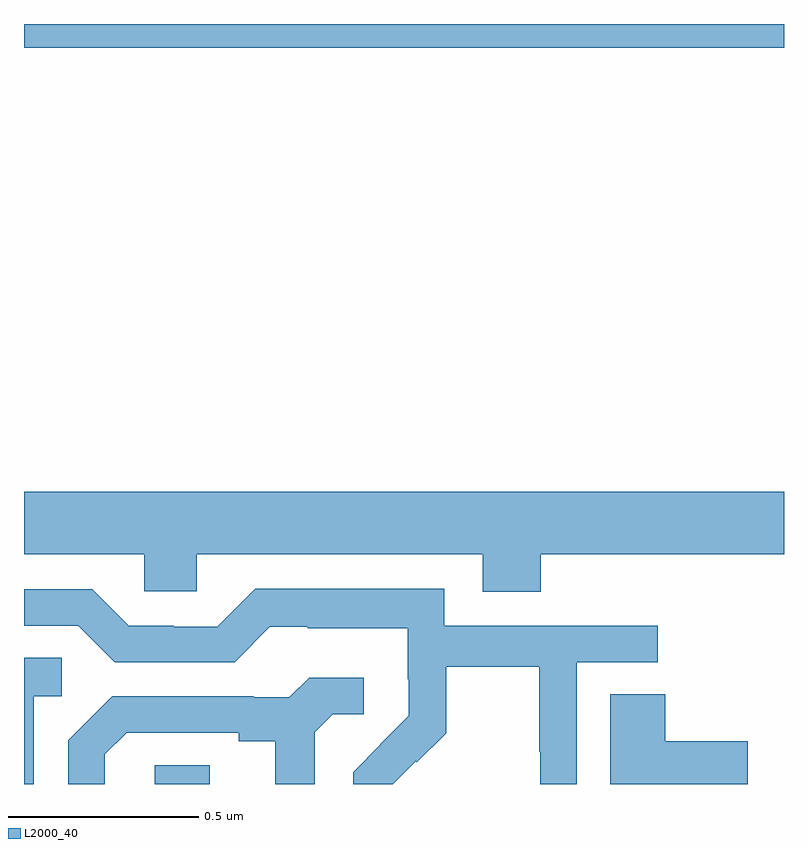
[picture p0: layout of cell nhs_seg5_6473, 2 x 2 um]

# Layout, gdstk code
import gdstk
lib = gdstk.Library(unit=1e-6, precision=1e-09)
def R(c, l, rs):  # rectangles x0, y0, x1, y1
    for r in rs: c.add(gdstk.rectangle(r[:2], r[2:], *l))
def P(c, l, *ps):  # polygons
    for p in ps: c.add(gdstk.Polygon(p, *l))
L2000_40 = (2000, 40)

nhs_seg5_6473 = lib.new_cell('nhs_seg5_6473')
R(nhs_seg5_6473, L2000_40, [(196.344,878.799,196.489,878.849), (196,880.736,198,880.799)])
P(nhs_seg5_6473, L2000_40, [(197.36,879.404),(198,879.404),(198,879.568),(196,879.568),(196,879.404),(196.317,879.404),(196.317,879.306),(196.455,879.306),(196.455,879.404),(197.207,879.404),(197.207,879.305),(197.36,879.305)],
  [(197.031,878.859),(197.034,878.856),(197.111,878.933),(197.111,879.108),(197.356,879.108),(197.356,878.884),(197.358,878.884),(197.358,878.799),(197.454,878.799),(197.454,879.12),(197.668,879.12),(197.668,879.216),(197.106,879.216),(197.106,879.313),(196.609,879.313),(196.509,879.213),(196.394,879.213),(196.394,879.216),(196.275,879.216),(196.179,879.312),(196,879.312),(196,879.216),(196.143,879.216),(196.239,879.12),(196.554,879.12),(196.647,879.213),(196.747,879.213),(196.747,879.209),(197.01,879.209),(197.01,879.075),(197.012,879.075),(197.012,878.978),(196.938,878.904),(196.939,878.903),(196.866,878.83),(196.866,878.799),(196.971,878.799)],
  [(196.026,879.03),(196.099,879.03),(196.099,879.131),(196,879.131),(196,878.799),(196.026,878.799)],
  [(196.213,878.877),(196.27,878.934),(196.565,878.934),(196.565,878.912),(196.661,878.912),(196.661,878.799),(196.765,878.799),(196.765,878.935),(196.812,878.982),(196.894,878.982),(196.894,879.079),(196.75,879.079),(196.698,879.027),(196.604,879.027),(196.604,879.03),(196.232,879.03),(196.116,878.914),(196.116,878.799),(196.213,878.799)],
  [(197.905,878.912),(197.687,878.912),(197.687,879.035),(197.543,879.035),(197.543,878.799),(197.905,878.799)])

lib.write_gds('nhs_seg5_6473.gds')
